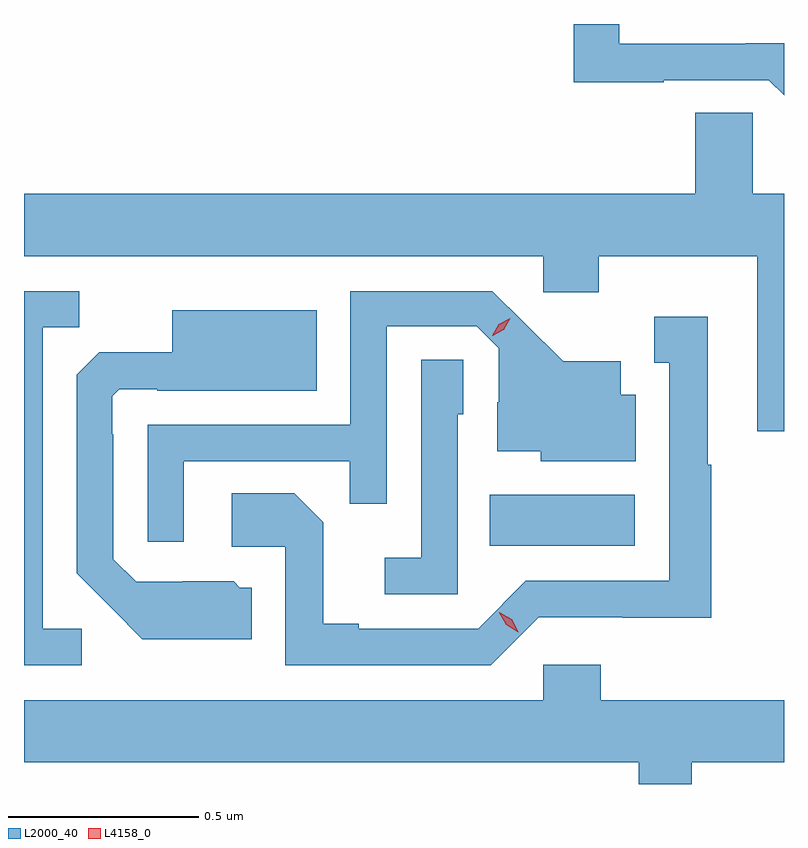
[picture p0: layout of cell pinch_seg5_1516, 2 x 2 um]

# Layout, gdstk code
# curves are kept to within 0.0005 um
import gdstk
lib = gdstk.Library(unit=1e-6, precision=1e-09)
def R(c, l, rs):  # rectangles x0, y0, x1, y1
    for r in rs: c.add(gdstk.rectangle(r[:2], r[2:], *l))
def P(c, l, *ps):  # polygons
    for p in ps: c.add(gdstk.Polygon(p, *l))
L2000_40 = (2000, 40)
L4158_0 = (4158, 0)

pinch_seg5_1516 = lib.new_cell('pinch_seg5_1516')
R(pinch_seg5_1516, L2000_40, [(127.378,883.97,127.759,884.104)])
P(pinch_seg5_1516, L2000_40, [(128.152,885.293),(128.051,885.293),(128.051,885.291),(127.719,885.291),(127.719,885.343),(127.599,885.343),(127.599,885.19),(127.835,885.19),(127.835,885.195),(128.112,885.195),(128.152,885.155)],
  [(128.152,884.896),(128.07,884.896),(128.07,885.11),(127.919,885.11),(127.919,884.896),(126.152,884.896),(126.152,884.732),(127.518,884.732),(127.518,884.637),(127.665,884.637),(127.665,884.732),(128.081,884.732),(128.081,884.271),(128.152,884.271)],
  [(126.304,883.752),(126.201,883.752),(126.201,884.545),(126.297,884.545),(126.297,884.64),(126.152,884.64),(126.152,883.656),(126.304,883.656)],
  [(126.573,884.193),(127.009,884.193),(127.009,884.08),(127.107,884.08),(127.107,884.547),(127.344,884.547),(127.401,884.49),(127.401,884.348),(127.397,884.348),(127.397,884.219),(127.512,884.219),(127.512,884.192),(127.762,884.192),(127.762,884.368),(127.723,884.368),(127.723,884.455),(127.571,884.455),(127.384,884.64),(127.011,884.64),(127.011,884.289),(126.477,884.289),(126.477,883.98),(126.573,883.98)],
  [(126.751,883.86),(126.72,883.86),(126.704,883.876),(126.57,883.876),(126.57,883.875),(126.447,883.875),(126.387,883.935),(126.387,884.264),(126.384,884.264),(126.384,884.364),(126.402,884.382),(126.502,884.382),(126.502,884.378),(126.922,884.378),(126.922,884.59),(126.542,884.59),(126.542,884.479),(126.35,884.479),(126.291,884.42),(126.291,883.898),(126.463,883.724),(126.751,883.724)],
  [(127.506,883.782),(127.728,883.782),(127.728,883.781),(127.961,883.781),(127.961,884.183),(127.951,884.183),(127.951,884.572),(127.811,884.572),(127.811,884.451),(127.85,884.451),(127.85,883.878),(127.473,883.878),(127.347,883.752),(127.033,883.752),(127.033,883.765),(126.939,883.765),(126.939,884.032),(126.863,884.108),(126.699,884.108),(126.699,883.968),(126.84,883.968),(126.84,883.656),(127.38,883.656)],
  [(127.293,884.316),(127.308,884.316),(127.308,884.459),(127.197,884.459),(127.197,883.939),(127.101,883.939),(127.101,883.842),(127.293,883.842)],
  [(127.909,883.4),(128.152,883.4),(128.152,883.564),(127.67,883.564),(127.67,883.657),(127.518,883.657),(127.518,883.564),(126.152,883.564),(126.152,883.4),(127.77,883.4),(127.77,883.343),(127.909,883.343)])
P(pinch_seg5_1516, L4158_0, [(127.453,883.743),(127.421,883.762),(127.403,883.794),(127.403,883.795),(127.403,883.795),(127.435,883.776),(127.453,883.744),(127.453,883.743)],
  [(127.384,884.523),(127.384,884.523),(127.401,884.553),(127.432,884.569),(127.432,884.569),(127.432,884.569),(127.415,884.539),(127.385,884.523)])

lib.write_gds('pinch_seg5_1516.gds')
